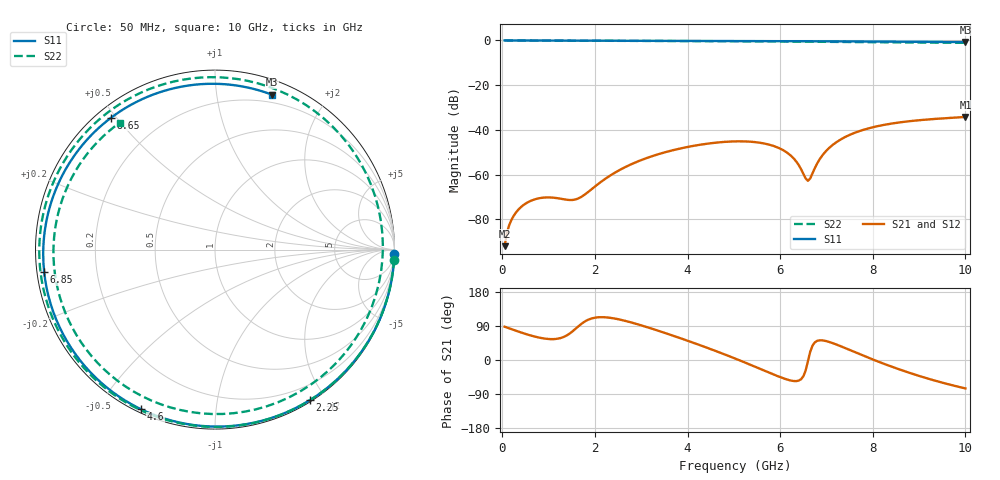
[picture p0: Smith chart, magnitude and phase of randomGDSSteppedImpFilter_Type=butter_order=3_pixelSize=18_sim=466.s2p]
! freq	dB(S11)	phase(S11)	dB(S12)	phase(S12)
!  dB(S21)	phase(S21)	dB(S22)	phase(S22)
!S-par simulation data
#  GHz  S  DB  R 50
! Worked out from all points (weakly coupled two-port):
!   200 points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, 50 MHz to 10 GHz, reference 50 ohm
!   highest |S21| = -34.19 dB at 10 GHz (marker M1); lowest = -91.9 dB at 50 MHz (marker M2)
!   lowest |S11| = -0.7 dB at 10 GHz (marker M3), VSWR 23.85, Z = 6.37 + j71.2 ohm
!   |S11| at or under -10 dB: nowhere
!   |S22| runs from -1.1 to 0.0 dB; largest |S21 - S12| = 0
!   S11 on the Smith chart (normalised r, x): 50 MHz: 0, -86; 2.25 GHz: 0.02, -1.81; 4.6 GHz: 0.01, -0.64; 6.85 GHz: 0.02, -0.07; 8.65 GHz: 0.04, +0.49; 10 GHz: 0.13, +1.42
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0.05  -0.00 -1.3  -91.92 87.8  -91.92 87.8  -0.00 -3.2
0.2  -0.01 -5.3  -80.05 81.3  -80.05 81.3  -0.02 -12.6
0.55  -0.02 -14.4  -72.33 66.9  -72.33 66.9  -0.04 -34.2
0.95  -0.03 -24.8  -70.14 55.9  -70.14 55.9  -0.07 -57.9
1.75  -0.06 -45.2  -69.32 99.0  -69.32 99.0  -0.11 -100.7
2.25  -0.07 -57.8  -61.45 112.4  -61.45 112.4  -0.13 -124.5
3.4  -0.12 -86.0  -50.64 75.9  -50.64 75.9  -0.18 -174.5
4  -0.14 -100.4  -47.59 50.9  -47.59 50.9  -0.21 159.4
4.6  -0.17 -114.9  -45.70 24.2  -45.70 24.2  -0.26 130.9
5.05  -0.20 -125.8  -45.09 2.8  -45.09 2.8  -0.31 106.7
5.45  -0.23 -135.6  -45.41 -17.3  -45.41 -17.3  -0.37 82.1
5.85  -0.26 -145.7  -47.09 -37.8  -47.09 -37.8  -0.44 53.9
6.25  -0.29 -156.1  -51.84 -54.7  -51.84 -54.7  -0.52 22.2
6.6  -0.33 -165.5  -62.73 -3.3  -62.73 -3.3  -0.60 -7.7
6.7  -0.34 -168.3  -59.32 38.4  -59.32 38.4  -0.62 -16.4
6.85  -0.35 -172.5  -53.18 51.9  -53.18 51.9  -0.65 -29.5
7.2  -0.39 177.3  -45.67 41.5  -45.67 41.5  -0.71 -59.4
7.55  -0.44 166.6  -41.76 24.0  -41.76 24.0  -0.76 -87.4
8.35  -0.54 139.4  -37.33 -15.0  -37.33 -15.0  -0.84 -142.3
8.65  -0.58 128.2  -36.42 -28.0  -36.42 -28.0  -0.87 -160.2
9.3  -0.66 101.5  -35.13 -53.0  -35.13 -53.0  -0.95 164.0
10  -0.73 69.9  -34.19 -75.0  -34.19 -75.0  -1.07 126.8
